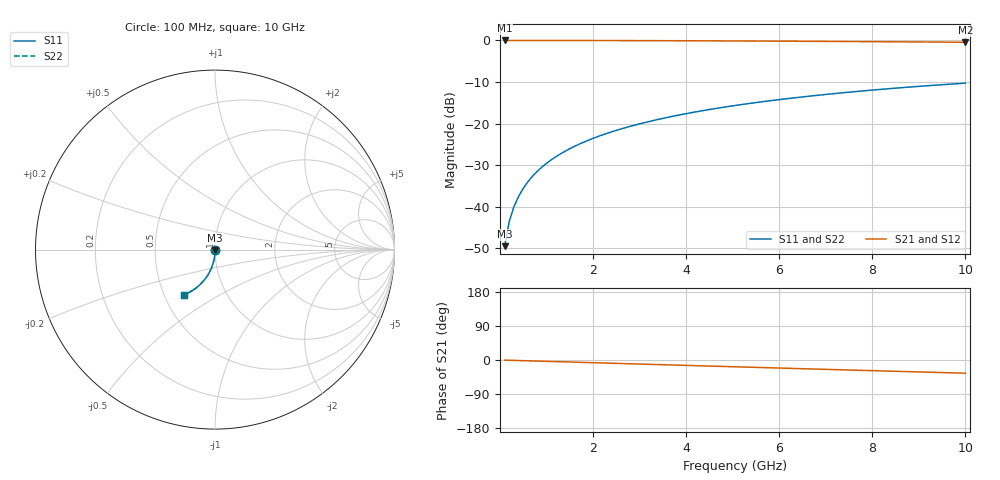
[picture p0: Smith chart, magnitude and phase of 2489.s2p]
# Hz S RI R 50.00
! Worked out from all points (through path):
!   100 points, 100 MHz to 10 GHz, reference 50 ohm
!   highest |S21| = 0.00 dB at 100 MHz (marker M1); lowest = -0.4 dB at 10 GHz (marker M2)
!   group delay of S21, straight-line fit = 9.7 ps
!   lowest |S11| = -49.4 dB at 100 MHz (marker M3), VSWR 1.01, Z = 50 - j0.334 ohm
!   |S11| at or under -10 dB: start of sweep to end of sweep
!   |S22| runs from -49.4 to -10.3 dB; largest |S21 - S12| = 0
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1e8  0.000473 -0.00334  0.9995 -0.00621  0.9995 -0.00621  0.000473 -0.00334
2e8  0.000409 -0.00668  0.9994 -0.0124  0.9994 -0.0124  0.000409 -0.00668
3e8  0.000303 -0.01  0.9993 -0.0186  0.9993 -0.0186  0.000303 -0.01
4e8  0.000156 -0.0134  0.9991 -0.0248  0.9991 -0.0248  0.000156 -0.0134
5e8  -3.38e-05 -0.0167  0.9988 -0.0311  0.9988 -0.0311  -3.38e-05 -0.0167
6e8  -0.000265 -0.02  0.9986 -0.0373  0.9986 -0.0373  -0.000265 -0.02
7e8  -0.000538 -0.0233  0.9982 -0.0435  0.9982 -0.0435  -0.000538 -0.0233
8e8  -0.000852 -0.0267  0.9979 -0.0497  0.9979 -0.0497  -0.000852 -0.0267
9e8  -0.00121 -0.03  0.9974 -0.0559  0.9974 -0.0559  -0.00121 -0.03
1.1e9  -0.00204 -0.0366  0.9964 -0.0683  0.9964 -0.0683  -0.00204 -0.0366
1.4e9  -0.0036 -0.0465  0.9945 -0.0868  0.9945 -0.0868  -0.0036 -0.0465
1.8e9  -0.00626 -0.0596  0.9914 -0.1114  0.9914 -0.1114  -0.00626 -0.0596
2.1e9  -0.00867 -0.0693  0.9884 -0.1298  0.9884 -0.1298  -0.00867 -0.0693
2.5e9  -0.0124 -0.0821  0.9839 -0.1541  0.9839 -0.1541  -0.0124 -0.0821
2.9e9  -0.0168 -0.0947  0.9786 -0.1782  0.9786 -0.1782  -0.0168 -0.0947
3.4e9  -0.0232 -0.1101  0.9709 -0.2081  0.9709 -0.2081  -0.0232 -0.1101
4.2e9  -0.0353 -0.1337  0.9563 -0.2549  0.9563 -0.2549  -0.0353 -0.1337
5.1e9  -0.0515 -0.1586  0.9365 -0.3059  0.9365 -0.3059  -0.0515 -0.1586
5.9e9  -0.068 -0.179  0.9162 -0.3496  0.9162 -0.3496  -0.068 -0.179
6.7e9  -0.0863 -0.1975  0.8936 -0.3915  0.8936 -0.3915  -0.0863 -0.1975
8.4e9  -0.1299 -0.2302  0.8387 -0.4741  0.8387 -0.4741  -0.1299 -0.2302
1e10  -0.1751 -0.2518  0.7803 -0.5431  0.7803 -0.5431  -0.1751 -0.2518
